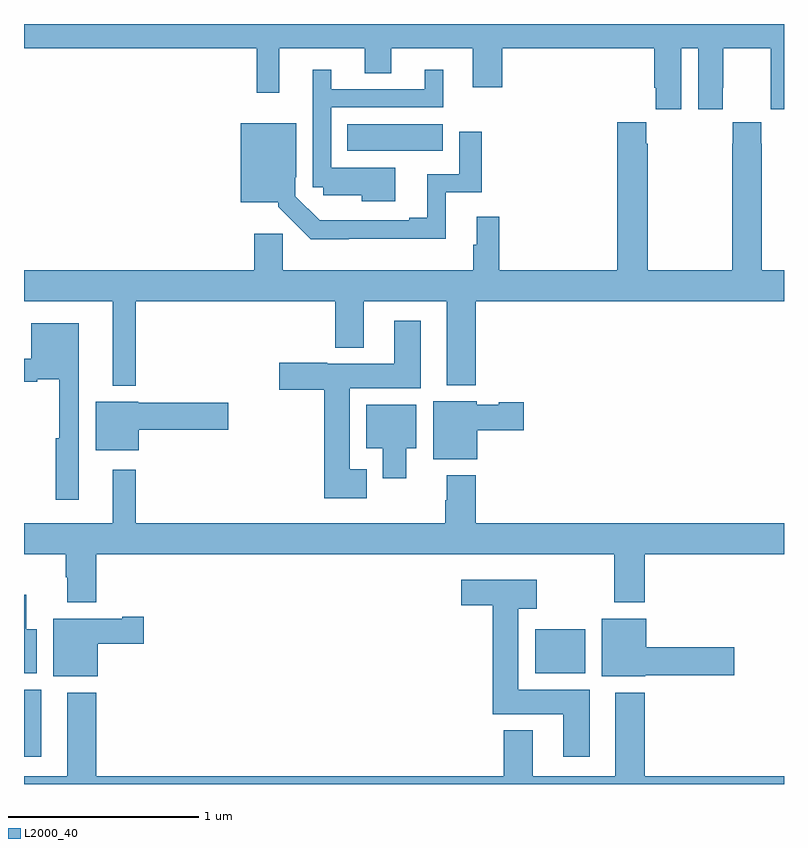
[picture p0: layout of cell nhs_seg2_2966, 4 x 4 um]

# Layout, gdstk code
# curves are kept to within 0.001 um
import gdstk
lib = gdstk.Library(unit=1e-6, precision=1e-09)
def R(c, l, rs):  # rectangles x0, y0, x1, y1
    for r in rs: c.add(gdstk.rectangle(r[:2], r[2:], *l))
def P(c, l, *ps):  # polygons
    for p in ps: c.add(gdstk.Polygon(p, *l))
L2000_40 = (2000, 40)

nhs_seg2_2966 = lib.new_cell('nhs_seg2_2966')
R(nhs_seg2_2966, L2000_40, [(267,607.944,267.091,608.296), (269.69,608.384,269.953,608.614), (268.702,611.132,269.203,611.272)])
P(nhs_seg2_2966, L2000_40, [(270.46,611.672),(270.548,611.672),(270.548,611.352),(270.678,611.352),(270.678,611.464),(270.679,611.464),(270.679,611.672),(270.929,611.672),(270.929,611.464),(270.93,611.464),(270.93,611.352),(271,611.352),(271,611.8),(267,611.8),(267,611.672),(268.225,611.672),(268.225,611.439),(268.343,611.439),(268.343,611.672),(268.793,611.672),(268.793,611.542),(268.933,611.542),(268.933,611.672),(269.363,611.672),(269.363,611.466),(269.516,611.466),(269.516,611.672),(270.317,611.672),(270.317,611.464),(270.326,611.464),(270.326,611.352),(270.46,611.352)],
  [(268.954,611.044),(268.617,611.044),(268.617,611.361),(269.206,611.361),(269.206,611.56),(269.108,611.56),(269.108,611.457),(268.618,611.457),(268.618,611.56),(268.521,611.56),(268.521,610.941),(268.575,610.941),(268.575,610.898),(268.778,610.898),(268.778,610.868),(268.954,610.868)],
  [(267.589,610.34),(268.637,610.34),(268.637,610.097),(268.789,610.097),(268.789,610.34),(269.225,610.34),(269.225,609.899),(269.378,609.899),(269.378,610.34),(271,610.34),(271,610.504),(270.882,610.504),(270.882,611.171),(270.879,611.171),(270.879,611.284),(270.729,611.284),(270.729,611.171),(270.727,611.171),(270.727,610.504),(270.282,610.504),(270.282,611.171),(270.275,611.171),(270.275,611.284),(270.122,611.284),(270.122,610.504),(269.501,610.504),(269.501,610.786),(269.384,610.786),(269.384,610.637),(269.365,610.637),(269.365,610.504),(268.361,610.504),(268.361,610.695),(268.211,610.695),(268.211,610.504),(267,610.504),(267,610.34),(267.467,610.34),(267.467,609.896),(267.589,609.896)],
  [(268.709,610.67),(269.221,610.67),(269.221,610.914),(269.408,610.914),(269.408,611.233),(269.292,611.233),(269.292,611.01),(269.123,611.01),(269.123,610.78),(269.027,610.78),(269.027,610.767),(268.556,610.766),(268.428,610.893),(268.428,610.993),(268.432,610.993),(268.432,611.278),(268.142,611.278),(268.142,610.862),(268.338,610.862),(268.338,610.839),(268.51,610.668),(268.709,610.668)],
  [(268.804,609.457),(268.714,609.457),(268.714,609.884),(269.089,609.884),(269.089,610.237),(268.949,610.237),(268.949,610.012),(268.596,610.012),(268.596,610.017),(268.344,610.017),(268.344,609.875),(268.58,609.875),(268.58,609.305),(268.804,609.305)],
  [(267.289,610.225),(267.038,610.225),(267.038,610.039),(267,610.039),(267,609.917),(267.071,609.917),(267.071,609.929),(267.185,609.929),(267.185,609.621),(267.168,609.621),(267.168,609.297),(267.289,609.297)],
  [(269.386,609.662),(269.629,609.662),(269.629,609.809),(269.499,609.809),(269.499,609.796),(269.382,609.796),(269.382,609.814),(269.153,609.814),(269.153,609.509),(269.386,609.509)],
  [(267.604,609.664),(268.075,609.664),(268.075,609.806),(267.6,609.806),(267.6,609.811),(267.377,609.811),(267.377,609.557),(267.604,609.557)],
  [(269.011,609.566),(269.065,609.566),(269.065,609.796),(268.802,609.796),(268.802,609.566),(268.889,609.566),(268.889,609.408),(269.011,609.408)],
  [(267.38,609.008),(270.106,609.008),(270.106,608.756),(270.266,608.756),(270.266,609.008),(271,609.008),(271,609.172),(269.378,609.172),(269.378,609.424),(269.225,609.424),(269.225,609.293),(269.218,609.293),(269.218,609.172),(267.589,609.172),(267.589,609.454),(267.467,609.454),(267.467,609.172),(267,609.172),(267,609.008),(267.22,609.008),(267.22,608.888),(267.227,608.888),(267.227,608.756),(267.38,608.756)],
  [(269.977,608.296),(269.602,608.296),(269.602,608.723),(269.698,608.723),(269.698,608.875),(269.301,608.875),(269.301,608.741),(269.468,608.741),(269.468,608.168),(269.837,608.168),(269.837,607.944),(269.977,607.944)],
  [(267.067,608.614),(267.013,608.614),(267.013,608.797),(267,608.797),(267,608.384),(267.067,608.384)],
  [(267.388,608.537),(267.631,608.537),(267.631,608.679),(267.518,608.679),(267.518,608.671),(267.155,608.671),(267.155,608.366),(267.388,608.366)],
  [(270.27,608.372),(270.739,608.372),(270.739,608.519),(270.274,608.519),(270.274,608.671),(270.041,608.671),(270.041,608.366),(270.27,608.366)],
  [(270.113,607.84),(269.677,607.84),(269.677,608.083),(269.525,608.083),(269.525,607.84),(267.38,607.84),(267.38,608.281),(267.227,608.281),(267.227,607.84),(267,607.84),(267,607.8),(271,607.8),(271,607.84),(270.266,607.84),(270.266,608.281),(270.113,608.281)])

lib.write_gds('nhs_seg2_2966.gds')
